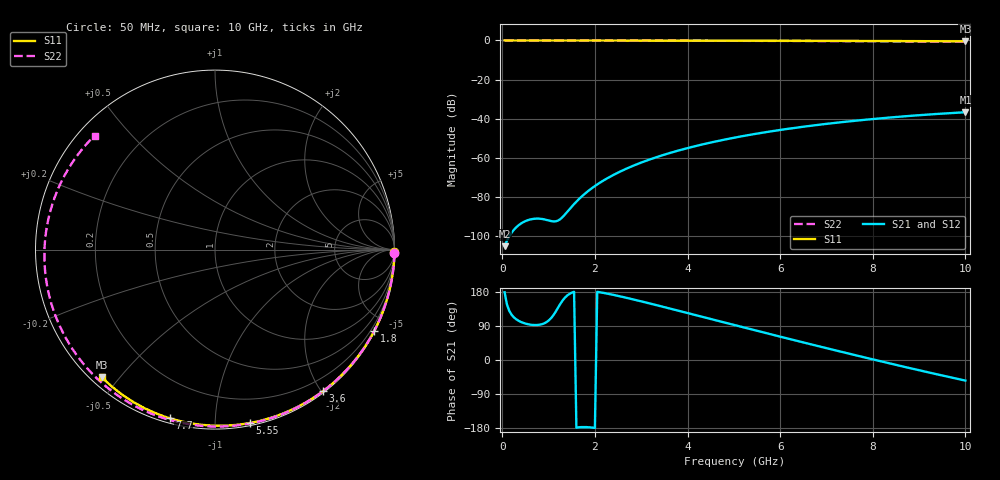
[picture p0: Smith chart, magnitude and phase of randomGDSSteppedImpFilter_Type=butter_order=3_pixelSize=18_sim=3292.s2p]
! freq	dB(S11)	phase(S11)	dB(S12)	phase(S12)
!  dB(S21)	phase(S21)	dB(S22)	phase(S22)
!S-par simulation data
#  GHz  S  DB  R 50
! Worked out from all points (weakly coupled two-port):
!   200 points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, 50 MHz to 10 GHz, reference 50 ohm
!   highest |S21| = -36.68 dB at 10 GHz (marker M1); lowest = -105.1 dB at 50 MHz (marker M2)
!   lowest |S11| = -0.4 dB at 10 GHz (marker M3), VSWR 39.22, Z = 1.53 - j22.5 ohm
!   |S11| at or under -10 dB: nowhere
!   |S22| runs from -0.7 to 0.0 dB; largest |S21 - S12| = 0
!   S11 on the Smith chart (normalised r, x): 50 MHz: open; 1.8 GHz: 0.04, -4.17; 3.6 GHz: 0.02, -2.02; 5.55 GHz: 0.02, -1.22; 7.7 GHz: 0.02, -0.77; 10 GHz: 0.03, -0.45
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0.05  -0.00 -0.8  -105.11 178.7  -105.11 178.7  -0.00 -1.2
0.85  -0.02 -12.9  -91.18 94.3  -91.18 94.3  -0.02 -20.3
1.7  -0.03 -25.5  -80.05 -177.1  -80.05 -177.1  -0.05 -40.1
1.75  -0.03 -26.2  -78.99 -176.9  -78.99 -176.9  -0.05 -41.3
1.8  -0.03 -26.9  -77.98 -177.0  -77.98 -177.0  -0.05 -42.4
2.1  -0.04 -31.3  -72.80 178.9  -72.80 178.9  -0.06 -49.3
2.45  -0.05 -36.4  -68.09 170.5  -68.09 170.5  -0.07 -57.2
2.9  -0.06 -42.9  -63.32 157.7  -63.32 157.7  -0.09 -67.1
3.4  -0.07 -49.9  -59.09 142.6  -59.09 142.6  -0.10 -78.0
3.6  -0.07 -52.7  -57.63 136.4  -57.63 136.4  -0.11 -82.3
4.3  -0.09 -62.3  -53.24 114.5  -53.24 114.5  -0.14 -97.0
5.05  -0.11 -72.2  -49.49 91.1  -49.49 91.1  -0.17 -112.4
5.55  -0.13 -78.7  -47.40 75.5  -47.40 75.5  -0.20 -122.6
6.1  -0.15 -85.7  -45.38 58.6  -45.38 58.6  -0.24 -133.8
6.7  -0.18 -93.1  -43.48 40.3  -43.48 40.3  -0.29 -146.1
7.2  -0.21 -99.1  -42.08 25.3  -42.08 25.3  -0.33 -156.5
7.7  -0.24 -105.1  -40.83 10.4  -40.83 10.4  -0.38 -167.2
8.35  -0.29 -112.7  -39.41 -8.5  -39.41 -8.5  -0.45 178.3
8.8  -0.32 -117.9  -38.55 -21.4  -38.55 -21.4  -0.51 167.8
9.2  -0.36 -122.4  -37.85 -32.6  -37.85 -32.6  -0.57 157.9
9.6  -0.40 -127.0  -37.23 -43.6  -37.23 -43.6  -0.62 147.5
10  -0.44 -131.5  -36.68 -54.3  -36.68 -54.3  -0.69 136.6
